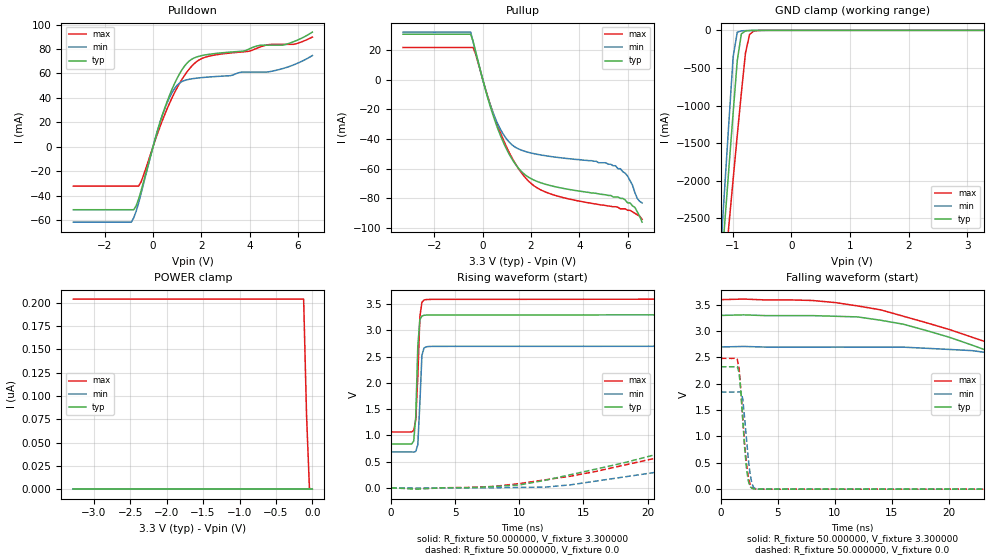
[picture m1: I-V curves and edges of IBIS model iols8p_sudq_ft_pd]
| [Disclaimer]  This information is for modeling purpose only and is
| not guaranted.
| The information is subject to change without notice.
| [Copyright] Copyright 2018 STMicroelectronics Inc.
| From stm32g070_071_081_lqfp32_gp.ibs, stm32g070_071_081_lqfp32_gp, STMicroelectronics
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|   Model iols8p_sudq_ft_pd
[Model]  iols8p_sudq_ft_pd
Model_type I/O
Polarity   Non-Inverting
Enable   Active-Low
Vinl =   0.990000V
Vinh =   2.310000V
Vmeas =  1.650000V
Cref =   50.000000pF
Rref =   100.000000M
Vref =   0.0V
C_comp   2.036400pF   1.984000pF   2.082300pF
[Temperature Range]   25.000000   -40.000000   0.125000k
[Pullup Reference]   3.300000V   2.700000V   3.600000V
[Pulldown Reference]   0.0V   0.0V   0.0V
[POWER Clamp Reference]   3.300000V   2.700000V   3.600000V
[GND Clamp Reference]   0.0V   0.0V   0.0V
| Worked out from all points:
|   slope of the pulldown table from 0 to 0.495 V, typ, clamps not added: 15.4 ohm
|   slope of the pullup table from 0 to 0.495 V, typ, clamps not added: 18.1 ohm
|   GND clamp passes 1 mA (typ) near -0.60 V on its own axis
|   rising waveform, R_fixture 50.000000, V_fixture 3.300000: 20-80 % time 204ps typ, 227ps min, 243ps max; typ from 0.835 V to 3.3 V
|   rising waveform, R_fixture 50.000000, V_fixture 0.0: 20-80 % time 24.4ns typ, 26.2ns min, 30.7ns max; typ from 0 V to 2.32 V
|   falling waveform, R_fixture 50.000000, V_fixture 3.300000: 20-80 % time 21.2ns typ, 25.4ns min, 24ns max; typ from 3.3 V to 0.835 V
|   falling waveform, R_fixture 50.000000, V_fixture 0.0: 20-80 % time 469ps typ, 493ps min, 522ps max; typ from 2.32 V to 0 V
[Pulldown]
|Voltage   I(typ)   I(min)   I(max)
-3.3V     -51.62mA   -61.83mA   -32.32mA
-900mV    -51.62mA   -61.83mA   -32.32mA
-800mV    -51.62mA   -58.24mA   -32.32mA
-500mV    -36.51mA   -38.71mA   -28.96mA
400mV     26.66mA    26.58mA    22.18mA
800mV     47.72mA    44.74mA    40.6mA
1.1V      59.79mA    52.18mA    51.93mA
1.5V      70.22mA    55.24mA    63.66mA
2.1V      74.97mA    56.75mA    72.88mA
4.9V      83.19mA    61.75mA    83.83mA
5.9V      86.64mA    67.67mA    84.15mA
6.6V      93.9mA     74.68mA    89.84mA
[Pullup]
|Voltage   I(typ)   I(min)   I(max)
-3.3V     30.51mA    31.92mA    21.54mA
-500mV    30.51mA    31.92mA    21.54mA
-300mV    19.24mA    18.93mA    17.46mA
500mV     -27.53mA   -25.31mA   -25.83mA
1V        -47.29mA   -40.29mA   -45.86mA
1.5V      -60.05mA   -46.83mA   -60.43mA
2V        -66.7mA    -49.43mA   -69.91mA
2.7V      -70.92mA   -51.53mA   -76.32mA
5.5V      -79mA      -58mA      -85.6mA
6V        -83mA      -65mA      -88mA
6.3V      -86mA      -76mA      -90mA
6.6V      -96mA      -83mA      -94mA
[GND_clamp]
|Voltage   I(typ)   I(min)   I(max)
-3.3V     -9.812A    -9.822A    -9.937A
-1.2V     -3.251A    -2.905A    -3.763A
-1.13V    -2.527A    -2.046A    -3.165A
-1.06V    -1.808A    -1.191A    -2.57A
-990mV    -1.097A    -352.7mA   -1.979A
-920mV    -404.2mA   -25.09mA   -1.398A
-850mV    -46.54mA   -6.516mA   -832.3mA
-780mV    -8.509mA   -3.59mA    -302.4mA
-710mV    -3.395mA   -1.728mA   -53.82mA
-640mV    -1.602mA   -565.6uA   -11.73mA
-360mV    -11.48uA   -7.86uA    -95.15uA
3.28V     87.11uA    57.76uA    110.6uA
[POWER_clamp]
|Voltage   I(typ)   I(min)   I(max)
-3.28V    0A         0A         204.1nA
-120mV    0A         0A         204.1nA
-80mV     0A         0A         79.47nA
-40mV     0A         0A         0A
0V        0A         0A         0A
[Ramp]
| variable   typ   min   max
dV/dt_r  1.39392/24.32512n   1.10664/26.02554n   1.48968/30.68457n
dV/dt_f  1.47853/21.12242n   1.20971/25.31352n   1.52064/23.80312n
R_load = 50.000000
[Rising Waveform]
R_fixture= 50.000000
V_fixture= 3.300000
V_fixture_min= 2.700000
V_fixture_max= 3.600000
|time   V(typ)   V(min)   V(max)
0s        834.7mV    683mV      1.064V
1.602ns   834.4mV    682.6mV    1.065V
1.762ns   890.2mV    681.2mV    1.091V
1.922ns   1.358V     691.7mV    1.293V
2.082ns   2.701V     821.7mV    2.121V
2.242ns   3.204V     1.613V     3.263V
2.402ns   3.274V     2.525V     3.537V
2.563ns   3.289V     2.664V     3.579V
2.723ns   3.292V     2.686V     3.588V
79.76ns   3.299V     2.699V     3.598V
[Rising Waveform]
R_fixture= 50.000000
V_fixture= 0.0
V_fixture_min= 0.0
V_fixture_max= 0.0
|time   V(typ)   V(min)   V(max)
0s        2.52nV     1.819nV    187.9nV
10.01ns   54.08mV    6.364mV    80.09mV
14.01ns   251mV      56.77mV    221.9mV
22.02ns   729.2mV    344.7mV    640.7mV
34.03ns   1.484V     929.4mV    1.304V
46.05ns   1.975V     1.399V     1.852V
54.05ns   2.117V     1.595V     2.09V
62.06ns   2.197V     1.7V       2.223V
100.1ns   2.301V     1.827V     2.435V
997ns     2.323V     1.844V     2.483V
[Falling Waveform]
R_fixture= 50.000000
V_fixture= 3.300000
V_fixture_min= 2.700000
V_fixture_max= 3.600000
|time   V(typ)   V(min)   V(max)
0s        3.299V     2.699V     3.598V
10.01ns   3.283V     2.698V     3.543V
16.02ns   3.132V     2.696V     3.283V
24.02ns   2.579V     2.572V     2.74V
38.04ns   1.559V     1.933V     1.812V
46.05ns   1.181V     1.508V     1.457V
60.06ns   976.5mV    964.6mV    1.241V
82.08ns   892.5mV    775.2mV    1.135V
220.2ns   834.9mV    682.5mV    1.065V
997ns     834.7mV    683mV      1.064V
[Falling Waveform]
R_fixture= 50.000000
V_fixture= 0.0
V_fixture_min= 0.0
V_fixture_max= 0.0
|time   V(typ)   V(min)   V(max)
0s        2.323V     1.844V     2.483V
1.441ns   2.327V     1.844V     2.469V
1.602ns   2.214V     1.847V     2.292V
1.762ns   1.842V     1.846V     1.876V
1.922ns   1.323V     1.714V     1.35V
2.242ns   418.5mV    976.9mV    495.4mV
2.402ns   163.5mV    592.8mV    240.7mV
2.723ns   16.02mV    107.4mV    30.17mV
3.043ns   2.769mV    10.45mV    4.778mV
79.76ns   2.52nV     1.819nV    187.9nV
